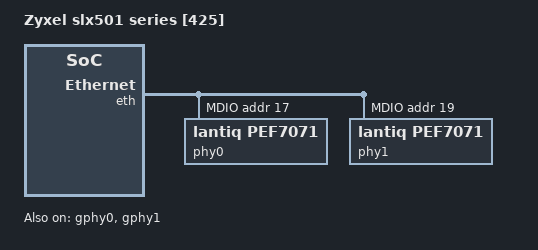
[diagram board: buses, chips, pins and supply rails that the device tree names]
// SPDX-License-Identifier: GPL-2.0
/*
 * Copyright (C) 2014-2019 Sphairon GmbH (a Zyxel company)
 */

/dts-v1/;

#include "xrx200-slx501.dtsi"

/ {
	model = "Zyxel slx501 series [425]";
	compatible = "zyxel,slx501", "lantiq,vr9", "lantiq,xway";
};

#if !defined(IS_UGW_61)
&gphy0 {
	lantiq,phy-mode = "11g";
	status = "ok";
};

&gphy1 {
	lantiq,phy-mode = "11g";
	status = "ok";
};
#endif

&eth {
	pinctrl-names = "default";
	pinctrl-0 = <&pins_eth_default>;

#if defined(IS_UGW_61)
	gphy@0 {
		lantiq,phy-mode = "11g";
		status = "ok";
	};

	gphy@1 {
		lantiq,phy-mode = "11g";
		status = "ok";
	};
#endif

	mdio@0 {
		phy0: ethernet-phy@11 {
			compatible = "lantiq,pef7071", "ethernet-phy-ieee802.3-c22";
			/*interrupt-parent = <&icu0>;
			interrupts = <122>;*/
			reg = <0x11>;
			lantiq,led0 = <0x7003>;
			lantiq,led1 = <0x0>;
			lantiq,led2 = <0x0>;
		};

		phy1: ethernet-phy@13 {
			compatible = "lantiq,pef7071", "ethernet-phy-ieee802.3-c22";
			/*interrupt-parent = <&icu0>;
			interrupts = <121>;*/
			reg = <0x13>;
			lantiq,led0 = <0x7003>;
			lantiq,led1 = <0x0>;
			lantiq,led2 = <0x0>;
		};
	};

	ethernet@2 {
		phy-handle = <&phy0>;
		phy-mode = "gmii";
		status = "ok";
		lantiq,port-name = "sw-p2-lan1";
	};

	ethernet@4 {
		phy-handle = <&phy1>;
		phy-mode = "gmii";
		status = "ok";
		lantiq,port-name = "sw-p2-lan2";
	};

	ethernet@5 {
		phy-mode = "rgmii";
		status = "ok";
		lantiq,port-name = "sw-p5-wifi";
		lantiq,rgmii-tx-delay = <3>;
		lantiq,mii-isolate;
		fixed-link {
			speed = <1000>;
			full-duplex;
		};
	};
};
